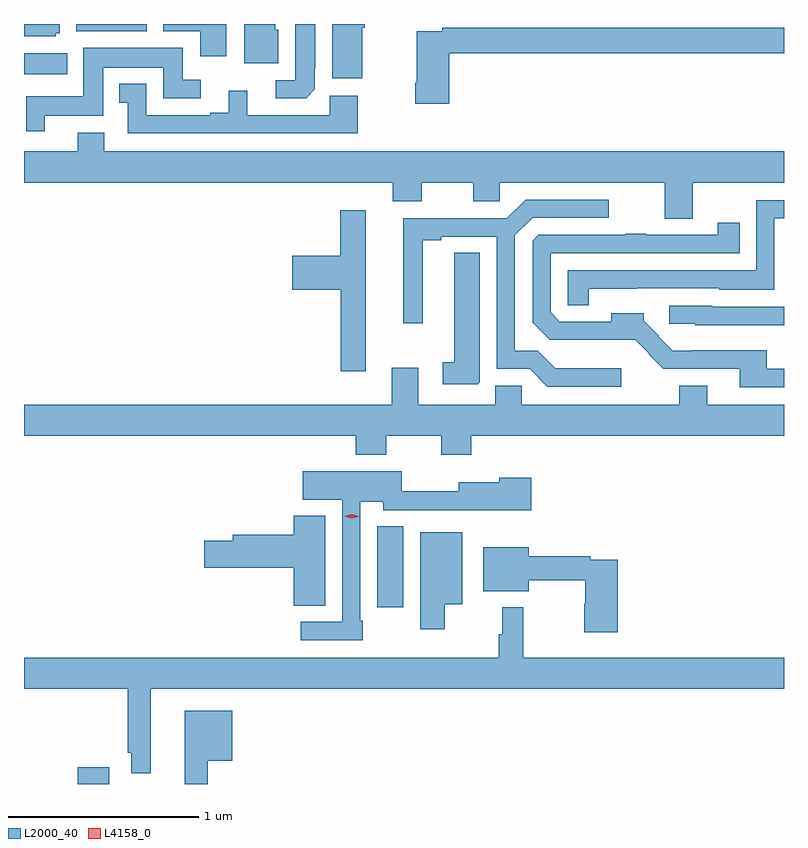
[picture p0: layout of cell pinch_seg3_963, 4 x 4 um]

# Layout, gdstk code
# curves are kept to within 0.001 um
import gdstk
lib = gdstk.Library(unit=1e-6, precision=1e-09)
def R(c, l, rs):  # rectangles x0, y0, x1, y1
    for r in rs: c.add(gdstk.rectangle(r[:2], r[2:], *l))
def P(c, l, *ps):  # polygons
    for p in ps: c.add(gdstk.Polygon(p, *l))
L2000_40 = (2000, 40)
L4158_0 = (4158, 0)

pinch_seg3_963 = lib.new_cell('pinch_seg3_963')
R(pinch_seg3_963, L2000_40, [(456.601,719.063,456.766,719.152), (458.177,719.994,458.314,720.419), (456.317,722.798,456.544,722.908), (456.591,723.026,456.964,723.063)])
P(pinch_seg3_963, L2000_40, [(456.483,723.015),(456.505,723.015),(456.505,723.063),(456.317,723.063),(456.317,722.999),(456.483,722.999)],
  [(457.381,723.063),(457.049,723.063),(457.049,723.026),(457.244,723.026),(457.244,722.892),(457.381,722.892)],
  [(458.098,723.044),(458.111,723.044),(458.111,723.063),(457.94,723.063),(457.94,722.777),(458.098,722.777)],
  [(457.654,723.033),(457.639,723.033),(457.639,723.063),(457.475,723.063),(457.475,722.856),(457.654,722.856)],
  [(457.848,722.719),(457.848,722.83),(457.849,722.83),(457.849,723.063),(457.745,723.063),(457.745,722.766),(457.641,722.766),(457.641,722.673),(457.802,722.673)],
  [(458.555,722.908),(460.317,722.908),(460.317,723.044),(458.518,723.044),(458.518,723.024),(458.384,723.024),(458.384,722.755),(458.377,722.755),(458.377,722.643),(458.555,722.643)],
  [(456.427,722.579),(456.733,722.579),(456.733,722.834),(457.049,722.834),(457.049,722.673),(457.246,722.673),(457.246,722.769),(457.153,722.769),(457.153,722.938),(456.629,722.938),(456.629,722.683),(456.329,722.683),(456.329,722.499),(456.427,722.499)],
  [(458.073,722.686),(457.926,722.686),(457.926,722.583),(457.492,722.583),(457.492,722.713),(457.394,722.713),(457.394,722.596),(457.298,722.596),(457.298,722.583),(456.96,722.583),(456.96,722.749),(456.818,722.749),(456.818,722.649),(456.864,722.649),(456.864,722.487),(458.073,722.487)],
  [(458.258,722.129),(458.41,722.129),(458.41,722.228),(458.681,722.228),(458.681,722.13),(458.82,722.13),(458.82,722.228),(459.689,722.228),(459.689,722.038),(459.837,722.038),(459.837,722.228),(460.317,722.228),(460.317,722.392),(456.739,722.392),(456.739,722.491),(456.599,722.491),(456.599,722.392),(456.317,722.392),(456.317,722.228),(458.258,722.228)],
  [(459.46,721.252),(459.113,721.252),(459.022,721.343),(458.901,721.343),(458.901,721.95),(458.994,722.043),(459.394,722.043),(459.394,722.139),(458.957,722.139),(458.858,722.04),(458.312,722.04),(458.312,721.488),(458.416,721.488),(458.416,721.924),(458.512,721.924),(458.512,721.944),(458.805,721.944),(458.805,721.248),(458.979,721.248),(459.072,721.155),(459.46,721.155)],
  [(459.289,721.67),(459.543,721.67),(459.543,721.671),(459.975,721.671),(459.975,721.664),(460.266,721.664),(460.266,722.04),(460.317,722.04),(460.317,722.136),(460.17,722.136),(460.17,721.767),(459.18,721.767),(459.18,721.582),(459.289,721.582)],
  [(458.116,722.083),(457.982,722.083),(457.982,721.842),(457.728,721.842),(457.728,721.664),(457.985,721.664),(457.985,721.236),(458.116,721.236)],
  [(460.317,721.248),(460.225,721.248),(460.225,721.345),(459.832,721.345),(459.832,721.343),(459.731,721.343),(459.654,721.419),(459.657,721.422),(459.578,721.501),(459.578,721.54),(459.407,721.54),(459.407,721.497),(459.138,721.497),(459.09,721.545),(459.09,721.857),(460.085,721.857),(460.085,722.017),(459.967,722.017),(459.967,721.953),(459.593,721.953),(459.593,721.958),(459.481,721.958),(459.481,721.953),(459.024,721.953),(458.994,721.923),(458.994,721.491),(459.083,721.402),(459.199,721.402),(459.199,721.4),(459.533,721.401),(459.607,721.327),(459.605,721.325),(459.681,721.248),(460.085,721.248),(460.085,721.152),(460.317,721.152)],
  [(458.716,721.177),(458.716,721.859),(458.582,721.859),(458.582,721.283),(458.52,721.283),(458.52,721.167),(458.706,721.167)],
  [(460.317,721.575),(459.939,721.575),(459.939,721.581),(459.714,721.581),(459.714,721.485),(459.849,721.485),(459.849,721.478),(460.317,721.478)],
  [(458.223,720.896),(458.512,720.896),(458.512,720.797),(458.672,720.797),(458.672,720.896),(460.317,720.896),(460.317,721.06),(459.913,721.06),(459.913,721.159),(459.766,721.159),(459.766,721.06),(458.937,721.06),(458.937,721.158),(458.798,721.158),(458.798,721.06),(458.392,721.06),(458.392,721.255),(458.252,721.255),(458.252,721.06),(456.317,721.06),(456.317,720.896),(458.063,720.896),(458.063,720.797),(458.223,720.797)],
  [(458.101,719.923),(458.088,719.923),(458.088,720.548),(458.208,720.548),(458.208,720.504),(458.71,720.504),(458.71,720.503),(458.986,720.503),(458.986,720.676),(458.817,720.676),(458.817,720.652),(458.606,720.652),(458.606,720.605),(458.304,720.605),(458.304,720.709),(457.785,720.709),(457.785,720.56),(457.992,720.56),(457.992,719.916),(457.773,719.916),(457.773,719.82),(458.101,719.82)],
  [(457.903,720.475),(457.736,720.475),(457.736,720.374),(457.415,720.374),(457.415,720.344),(457.266,720.344),(457.266,720.202),(457.736,720.202),(457.736,720.001),(457.903,720.001)],
  [(458.532,720.008),(458.623,720.008),(458.623,720.388),(458.402,720.388),(458.402,719.877),(458.532,719.877)],
  [(459.443,720.243),(459.296,720.243),(459.296,720.263),(458.974,720.263),(458.974,720.31),(458.735,720.31),(458.735,720.077),(458.974,720.077),(458.974,720.135),(459.272,720.135),(459.272,720.012),(459.265,720.012),(459.265,719.862),(459.443,719.862)],
  [(456.985,719.564),(460.317,719.564),(460.317,719.728),(458.944,719.728),(458.944,719.992),(458.834,719.992),(458.834,719.852),(458.815,719.852),(458.815,719.728),(456.317,719.728),(456.317,719.564),(456.864,719.564),(456.864,719.227),(456.881,719.227),(456.881,719.12),(456.985,719.12)],
  [(457.285,719.186),(457.414,719.186),(457.414,719.449),(457.163,719.449),(457.163,719.063),(457.285,719.063)])
P(pinch_seg3_963, L4158_0, [(458.04,720.462),(458.006,720.473),(458.006,720.473),(458.006,720.473),(458.041,720.482),(458.075,720.471),(458.076,720.47),(458.075,720.47)])

lib.write_gds('pinch_seg3_963.gds')
